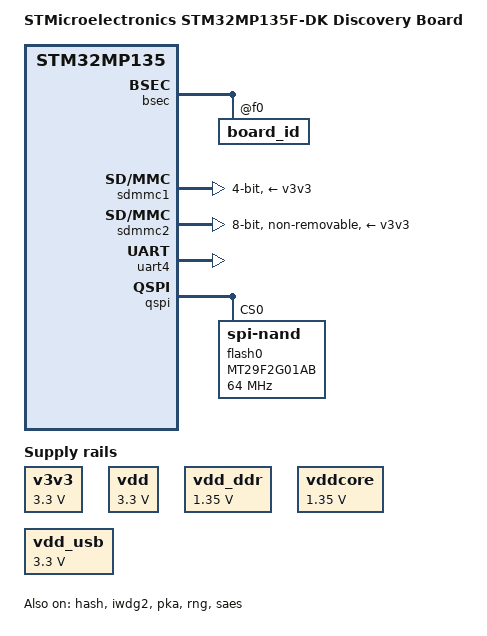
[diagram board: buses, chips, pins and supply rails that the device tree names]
// SPDX-License-Identifier: (GPL-2.0+ OR BSD-3-Clause)
/*
 * Copyright (C) MYiR 2023 - All Rights Reserved
 * Author: Alexhu <fan.hu@myirtech.com>
 */

/dts-v1/;

#include <dt-bindings/clock/stm32mp13-clksrc.h>
#include "stm32mp135.dtsi"
#include "stm32mp13xf.dtsi"
#include "myb-stm32mp13-pinctrl.dtsi"

/ {
	model = "STMicroelectronics STM32MP135F-DK Discovery Board";
	compatible = "st,stm32mp135f-dk", "st,stm32mp135";

	aliases {
		serial0 = &uart4;
		serial1 = &usart1;
		serial2 = &uart8;
		serial3 = &usart2;
	};

	chosen {
		stdout-path = "serial0:115200n8";
	};

	v3v3: v3v3 {
		compatible = "regulator-fixed";
		regulator-name = "v3v3";
		regulator-min-microvolt = <3300000>;
		regulator-max-microvolt = <3300000>;
		regulator-always-on;
	};

	vdd: vdd {
		compatible = "regulator-fixed";
		regulator-name = "vdd";
		regulator-min-microvolt = <3300000>;
		regulator-max-microvolt = <3300000>;
	};

	vdd_ddr: vdd_ddr {
		compatible = "regulator-fixed";
		regulator-name = "vdd_ddr";
		regulator-min-microvolt = <1350000>;
		regulator-max-microvolt = <1350000>;
	};

	vddcore: vddcore {
		compatible = "regulator-fixed";
		regulator-name = "vddcore";
		regulator-min-microvolt = <1350000>;
		regulator-max-microvolt = <1350000>;
	};

	vdd_usb: vdd_usb {
		compatible = "regulator-fixed";
		regulator-name = "vdd_usb";
		regulator-min-microvolt = <3300000>;
		regulator-max-microvolt = <3300000>;
	};

};

&bsec {
	board_id: board_id@f0 {
		reg = <0xf0 0x4>;
		st,non-secure-otp;
	};
};

&cpu0 {
	cpu-supply = <&vddcore>;
};

&hash {
	status = "okay";
};

&i2c4 {
	pinctrl-names = "default";
	// pinctrl-0 = <&i2c4_pins_a>;
	i2c-scl-rising-time-ns = <185>;
	i2c-scl-falling-time-ns = <20>;
	clock-frequency = <400000>;
	status = "disabled";
};

&iwdg2 {
	timeout-sec = <32>;
	status = "okay";
};

&pka {
	status = "okay";
};

&pwr_regulators {
	vdd-supply = <&vdd>;
	vdd_3v3_usbfs-supply = <&vdd_usb>;
};

&rcc {
	st,clksrc = <
		CLK_MPU_PLL1P
		CLK_AXI_PLL2P
		CLK_MLAHBS_PLL3
		CLK_CKPER_HSE
		CLK_RTC_LSE
		CLK_SDMMC1_PLL4P
		CLK_SDMMC2_PLL4P
		CLK_STGEN_HSE
		CLK_USBPHY_HSE
		CLK_I2C4_HSI
		CLK_I2C3_HSI
		CLK_USBO_USBPHY
		CLK_I2C12_HSI
		CLK_UART2_HSI
		CLK_UART4_HSI
		CLK_SAES_AXI
		CLK_QSPI_ACLK
	>;

	st,clkdiv = <
		DIV(DIV_AXI, 0)
		DIV(DIV_MLAHB, 0)
		DIV(DIV_APB1, 1)
		DIV(DIV_APB2, 1)
		DIV(DIV_APB3, 1)
		DIV(DIV_APB4, 1)
		DIV(DIV_APB5, 2)
		DIV(DIV_APB6, 1)
		DIV(DIV_RTC, 0)
	>;

	st,pll_vco {
		pll1_vco_1300Mhz: pll1-vco-1300Mhz {
			src = < CLK_PLL12_HSE >;
			divmn = < 2 80 >;
			frac = < 0x800 >;
		};

		pll2_vco_1066Mhz: pll2-vco-1066Mhz {
			src = < CLK_PLL12_HSE >;
			divmn = < 2 65 >;
			frac = < 0x1400 >;
		};

		pll3_vco_417_8Mhz: pll3-vco-417_8Mhz {
			src = < CLK_PLL3_HSE >;
			divmn = < 1 33 >;
			frac = < 0x1a04 >;
		};

		pll4_vco_600Mhz: pll4-vco-600Mhz {
			src = < CLK_PLL4_HSE >;
			divmn = < 1 49 >;
		};
	};

	/* VCO = 1300.0 MHz => P = 650 (CPU) */
	pll1:st,pll@0 {
		compatible = "st,stm32mp1-pll";
		reg = <0>;

		st,pll = < &pll1_cfg1 >;

		pll1_cfg1: pll1_cfg1 {
			st,pll_vco = < &pll1_vco_1300Mhz >;
			st,pll_div_pqr = < 0 1 1 >;
		};
	};

	/* VCO = 1066.0 MHz => P = 266 (AXI), Q = 266, R = 533 (DDR) */
	pll2:st,pll@1 {
		compatible = "st,stm32mp1-pll";
		reg = <1>;

		st,pll = < &pll2_cfg1 >;

		pll2_cfg1: pll2_cfg1 {
			st,pll_vco = < &pll2_vco_1066Mhz >;
			st,pll_div_pqr = < 1 1 0 >;
		};
	};

	/* VCO = 417.8 MHz => P = 209, Q = 24, R = 209 */
	pll3:st,pll@2 {
		compatible = "st,stm32mp1-pll";
		reg = <2>;

		st,pll = < &pll3_cfg1 >;

		pll3_cfg1: pll3_cfg1 {
			st,pll_vco = < &pll3_vco_417_8Mhz >;
			st,pll_div_pqr = < 1 16 1 >;
		};
	};

	/* VCO = 600.0 MHz => P = 50, Q = 10, R = 100 */
	pll4:st,pll@3 {
		compatible = "st,stm32mp1-pll";
		reg = <3>;

		st,pll = < &pll4_cfg1 >;

		pll4_cfg1: pll4_cfg1 {
			st,pll_vco = < &pll4_vco_600Mhz >;
			st,pll_div_pqr = < 11 59 5 >;
		};
	};
};

&rng {
	status = "okay";
};

&saes {
	status = "okay";
};

&sdmmc1 {
	pinctrl-names = "default";
	pinctrl-0 = <&sdmmc1_b4_pins_a &sdmmc1_clk_pins_a>;
	disable-wp;
	st,neg-edge;
	bus-width = <4>;
	vmmc-supply = <&v3v3>;
	status = "okay";
};

&sdmmc2 {
	pinctrl-names = "default";
	pinctrl-0 = <&sdmmc2_b4_pins_a &sdmmc2_clk_pins_a>;
	non-removable;
	no-sd;
	no-sdio;
	st,neg-edge;
	bus-width = <8>;
	vmmc-supply = <&v3v3>;
	vqmmc-supply = <&vdd>;
	mmc-ddr-3_3v;
	status = "okay";
};

&uart4 {
	pinctrl-names = "default";
	pinctrl-0 = <&uart4_pins_a>;
	status = "okay";
};

&uart8 {
	pinctrl-names = "default";
	pinctrl-0 = <&uart8_pins_a>;
	status = "disabled";
};

&usart1 {
	pinctrl-names = "default";
	// pinctrl-0 = <&usart1_pins_a>;
	uart-has-rtscts;
	status = "disabled";
};

&qspi {
        pinctrl-names = "default", "sleep";
        pinctrl-0 = <&quadspi_pins_mx>;
        pinctrl-1 = <&quadspi_sleep_pins_mx>;
        reg = <0x58003000 0x1000>,
              <0x70000000 0x4000000>;
        #address-cells = <1>;
        #size-cells = <0>;
        status = "okay";

        flash0: MT29F2G01AB@0 {
                compatible = "spi-nand";
                reg = <0>;
                spi-rx-bus-width = <4>;
                spi-tx-bus-width = <4>;
                spi-max-frequency = <64000000>;
                #address-cells = <1>;
                #size-cells = <1>;
        };
};
